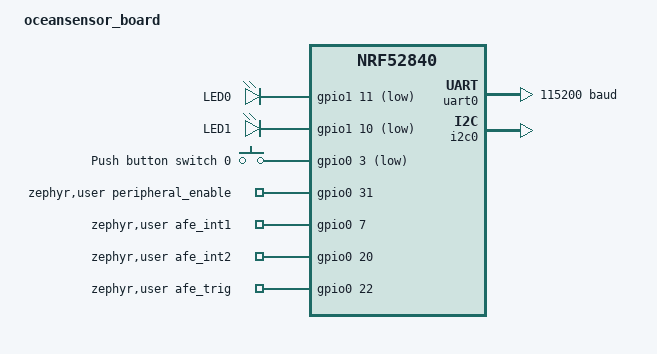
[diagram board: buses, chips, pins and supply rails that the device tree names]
/dts-v1/;
#include <nordic/nrf52840_qiaa.dtsi>
#include "devoceansensor-pinctrl.dtsi"
#include <zephyr/dt-bindings/input/input-event-codes.h>

/ {
    model = "oceansensor_board";
    compatible = "nordic,devoceansensor";

    chosen {
        zephyr,sram = &sram0;
        zephyr,flash = &flash0;
        zephyr,code-partition = &slot0_partition;
        zephyr,console = &uart0;
        zephyr,shell-uart = &uart0;
        zephyr,uart-mcumgr = &uart0;
    };

    leds {
        compatible = "gpio-leds";
        led0: led_0 {
            gpios = <&gpio1 11 GPIO_ACTIVE_LOW>;
            label = "LED0";
        };
        led1: led_1 {
            gpios = <&gpio1 10 GPIO_ACTIVE_LOW>;
            label = "LED1";
        };
    };

    buttons {
        compatible = "gpio-keys";
        sw3: button_0 {
            gpios = <&gpio0 3 (GPIO_PULL_UP | GPIO_ACTIVE_LOW)>;
            label = "Push button switch 0";
            zephyr,code = <INPUT_KEY_0>;
        };
    };
 
    /* These aliases must be directly under the root node */
    aliases {
        led0 = &led0;
        led1 = &led1;
        sw3 = &sw3;
    };

	zephyr,user {
		peripheral_enable-gpios = <&gpio0 31 GPIO_ACTIVE_HIGH>;
		afe_int1-gpios = <&gpio0 7 (GPIO_PULL_DOWN | GPIO_ACTIVE_HIGH)>;
        afe_int2-gpios = <&gpio0 20 (GPIO_PULL_DOWN | GPIO_ACTIVE_HIGH)>;
        afe_trig-gpios = <&gpio0 22 GPIO_ACTIVE_HIGH>;
	};
};


&flash0 {
	partitions {
		compatible = "fixed-partitions";
		#address-cells = <1>;
		#size-cells = <1>;

		boot_partition: partition@0 {
			label = "mcuboot";
			reg = <0x00000000 DT_SIZE_K(48)>;
		};

		slot0_partition: partition@c000 {
			label = "image-0";
			reg = <0x0000c000 DT_SIZE_K(472)>;
		};

		slot1_partition: partition@82000 {
			label = "image-1";
			reg = <0x00082000 DT_SIZE_K(472)>;
		};

		storage_partition: partition@f8000 {
			label = "storage";
			reg = <0x000f8000 DT_SIZE_K(32)>;
		};
	};
};

&gpiote {
	status = "okay";
};

&gpio0 {
	status = "okay";
};

&gpio1 {
	status = "okay";
};

&uart0 {
	compatible = "nordic,nrf-uarte";
	status = "okay";
	current-speed = <115200>;
	pinctrl-0 = <&uart0_default>;
	pinctrl-1 = <&uart0_sleep>;
	pinctrl-names = "default", "sleep";
};

&i2c0 {
	compatible = "nordic,nrf-twi";
	status = "okay";
	pinctrl-0 = <&i2c0_default>;
	pinctrl-names = "default";
};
